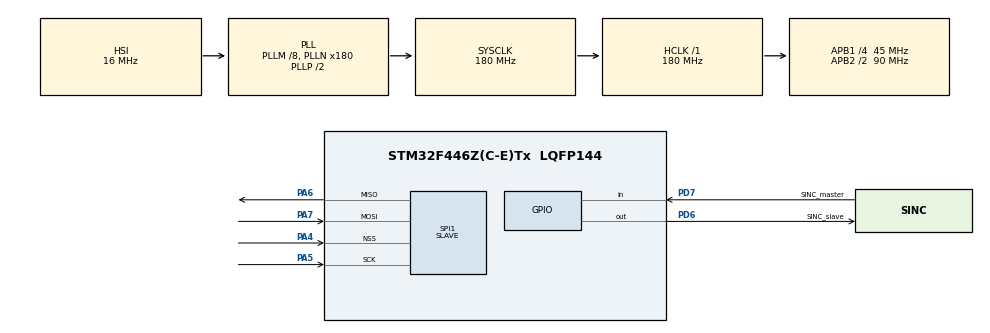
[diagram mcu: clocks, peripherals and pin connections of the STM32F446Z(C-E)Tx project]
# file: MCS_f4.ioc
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Mcu.Family=STM32F4
Mcu.Name=STM32F446Z(C-E)Tx
Mcu.Package=LQFP144
NVIC.PriorityGroup=NVIC_PRIORITYGROUP_4
PA13.Mode=Serial_Wire
PA13.Signal=SYS_JTMS-SWDIO
PA14.Mode=Serial_Wire
PA14.Signal=SYS_JTCK-SWCLK
PA4.Mode=NSS_Signal_Hard_Input
PA4.Signal=SPI1_NSS
PA5.Mode=Full_Duplex_Slave
PA5.Signal=SPI1_SCK
PA6.Mode=Full_Duplex_Slave
PA6.Signal=SPI1_MISO
PA7.Mode=Full_Duplex_Slave
PA7.Signal=SPI1_MOSI
PD6.GPIO_Label=SINC_slave
PD6.GPIO_Speed=GPIO_SPEED_FREQ_VERY_HIGH
PD6.Signal=GPIO_Output
PD7.GPIO_Label=SINC_master
PD7.Signal=GPIO_Input
PH0-OSC_IN.Mode=HSE-External-Oscillator
PH0-OSC_IN.Signal=RCC_OSC_IN
PH1-OSC_OUT.Mode=HSE-External-Oscillator
PH1-OSC_OUT.Signal=RCC_OSC_OUT
ProjectManager.HeapSize=0x200
ProjectManager.StackSize=0x400
ProjectManager.TargetToolchain=STM32CubeIDE
RCC.AHBFreq_Value=180000000
RCC.APB1CLKDivider=RCC_HCLK_DIV4
RCC.APB1Freq_Value=45000000
RCC.APB1TimFreq_Value=90000000
RCC.APB2CLKDivider=RCC_HCLK_DIV2
RCC.APB2Freq_Value=90000000
RCC.APB2TimFreq_Value=180000000
RCC.CortexFreq_Value=180000000
RCC.HCLKFreq_Value=180000000
RCC.PLLM=8
RCC.PLLN=180
RCC.SYSCLKFreq_VALUE=180000000
RCC.SYSCLKSource=RCC_SYSCLKSOURCE_PLLCLK
RCC.USBFreq_Value=180000000
RCC.VCOOutputFreq_Value=360000000
SPI1.Direction=SPI_DIRECTION_2LINES
SPI1.Mode=SPI_MODE_SLAVE
SPI1.VirtualNSS=VM_NSSHARD
SPI1.VirtualType=VM_SLAVE
board=custom

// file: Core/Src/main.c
/* USER CODE BEGIN Header */
/**
  ******************************************************************************
  * @file           : main.c
  * @brief          : Main program body
  ******************************************************************************
  * @attention
  *
  * Copyright (c) 2025 STMicroelectronics.
  * All rights reserved.
  *
  * This software is licensed under terms that can be found in the LICENSE file
  * in the root directory of this software component.
  * If no LICENSE file comes with this software, it is provided AS-IS.
  *
  ******************************************************************************
  */
/* USER CODE END Header */
#include "main.h"
#include "spi.h"
#include "gpio.h"

/* USER CODE BEGIN Includes */
#include "calib.h"

/* USER CODE END Includes */

/* USER CODE BEGIN PTD */
union calib_t{
	uint8_t inteiro[4];
	float flutuante;
};

/* USER CODE END PTD */

/* USER CODE BEGIN PV */
union calib_t mx_[tam] = {0}, my_[tam] = {0}, mz_[tam] = {0};
float mx[tam] = {0}, my[tam] = {0}, mz[tam] = {0};
float p1[9] = {0}, p0[9] = {0};
uint8_t passos_NLLS = 0;

/* USER CODE END PV */

void SystemClock_Config(void);

int main(void)
{

  /* MCU Configuration--------------------------------------------------------*/

  /* Reset of all peripherals, Initializes the Flash interface and the Systick. */
  HAL_Init();

  /* Configure the system clock */
  SystemClock_Config();

  /* Initialize all configured peripherals */
  MX_GPIO_Init();
  MX_SPI1_Init();
  /* USER CODE BEGIN 2 */
  union calib_t param1[9], param2[9];
  union calib_t time_ETS, time_NLLS;
  uint32_t start_time = 0;

  /* USER CODE END 2 */

  /* Infinite loop */
  /* USER CODE BEGIN WHILE */
  while (1)
  {
	  while(!HAL_GPIO_ReadPin(GPIOD, GPIO_PIN_7));
	  HAL_GPIO_WritePin(GPIOD, GPIO_PIN_6, SET);

	  for(uint16_t i = 0; i < tam; i++)
	  {
		  HAL_SPI_Receive(&hspi1, mx_[i].inteiro, 4, 1000);
	  }
	  for(uint16_t i = 0; i < tam; i++)
	  {
		  HAL_SPI_Receive(&hspi1, my_[i].inteiro, 4, 1000);
	  }
	  for(uint16_t i = 0; i < tam; i++)
	  {
		  HAL_SPI_Receive(&hspi1, mz_[i].inteiro, 4, 1000);
	  }
	  HAL_GPIO_WritePin(GPIOD, GPIO_PIN_6, RESET);

	  for(uint16_t i = 0; i < tam; i++)
	  {
		mx[i] = mx_[i].flutuante;
		my[i] = my_[i].flutuante;
		mz[i] = mz_[i].flutuante;
	  }

	  start_time = HAL_GetTick();
	  ETS(mx, my, mz, p1);
	  time_ETS.flutuante = HAL_GetTick() - start_time;

	  start_time = HAL_GetTick();
	  passos_NLLS = NLLS(mx, my, mz, p0);
	  time_NLLS.flutuante = HAL_GetTick() - start_time;

	  for(uint8_t i = 0; i < 10; i++)
	  {
		  param1[i].flutuante = p1[i];
		  param2[i].flutuante = p0[i];
	  }

	  HAL_GPIO_WritePin(GPIOD, GPIO_PIN_6, SET);

	  for(uint8_t i = 0; i < 10; i++)
	  {
		  HAL_SPI_Transmit(&hspi1, param1[i].inteiro, 4, HAL_MAX_DELAY);
	  }
	  for(uint8_t i = 0; i < 10; i++)
	  {
		  HAL_SPI_Transmit(&hspi1, param2[i].inteiro, 4, HAL_MAX_DELAY);
	  }
	  HAL_SPI_Transmit(&hspi1, time_ETS.inteiro, 4, HAL_MAX_DELAY);
	  HAL_SPI_Transmit(&hspi1, time_NLLS.inteiro, 4, HAL_MAX_DELAY);
	  //HAL_SPI_Transmit(&hspi1, &passos_NLLS, 1, HAL_MAX_DELAY);
	  HAL_GPIO_WritePin(GPIOD, GPIO_PIN_6, RESET);

    /* USER CODE END WHILE */

  }
}

void SystemClock_Config(void)
{
  RCC_OscInitTypeDef RCC_OscInitStruct = {0};
  RCC_ClkInitTypeDef RCC_ClkInitStruct = {0};

  /** Configure the main internal regulator output voltage
  */
  __HAL_RCC_PWR_CLK_ENABLE();
  __HAL_PWR_VOLTAGESCALING_CONFIG(PWR_REGULATOR_VOLTAGE_SCALE1);

  /** Initializes the RCC Oscillators according to the specified parameters
  * in the RCC_OscInitTypeDef structure.
  */
  RCC_OscInitStruct.OscillatorType = RCC_OSCILLATORTYPE_HSI;
  RCC_OscInitStruct.HSIState = RCC_HSI_ON;
  RCC_OscInitStruct.HSICalibrationValue = RCC_HSICALIBRATION_DEFAULT;
  RCC_OscInitStruct.PLL.PLLState = RCC_PLL_ON;
  RCC_OscInitStruct.PLL.PLLSource = RCC_PLLSOURCE_HSI;
  RCC_OscInitStruct.PLL.PLLM = 8;
  RCC_OscInitStruct.PLL.PLLN = 180;
  RCC_OscInitStruct.PLL.PLLP = RCC_PLLP_DIV2;
  RCC_OscInitStruct.PLL.PLLQ = 2;
  RCC_OscInitStruct.PLL.PLLR = 2;
  if (HAL_RCC_OscConfig(&RCC_OscInitStruct) != HAL_OK)
  {
    Error_Handler();
  }

  /** Activate the Over-Drive mode
  */
  if (HAL_PWREx_EnableOverDrive() != HAL_OK)
  {
    Error_Handler();
  }

  /** Initializes the CPU, AHB and APB buses clocks
  */
  RCC_ClkInitStruct.ClockType = RCC_CLOCKTYPE_HCLK|RCC_CLOCKTYPE_SYSCLK
                              |RCC_CLOCKTYPE_PCLK1|RCC_CLOCKTYPE_PCLK2;
  RCC_ClkInitStruct.SYSCLKSource = RCC_SYSCLKSOURCE_PLLCLK;
  RCC_ClkInitStruct.AHBCLKDivider = RCC_SYSCLK_DIV1;
  RCC_ClkInitStruct.APB1CLKDivider = RCC_HCLK_DIV4;
  RCC_ClkInitStruct.APB2CLKDivider = RCC_HCLK_DIV2;

  if (HAL_RCC_ClockConfig(&RCC_ClkInitStruct, FLASH_LATENCY_5) != HAL_OK)
  {
    Error_Handler();
  }
}

void Error_Handler(void)
{
  __disable_irq();
  while (1)
  {
  }
}
